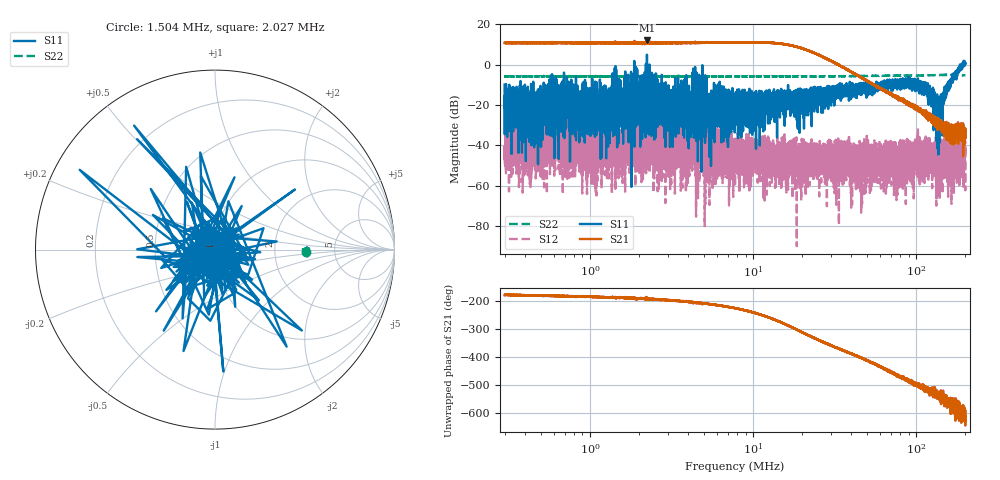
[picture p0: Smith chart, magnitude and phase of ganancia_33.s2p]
# Hz S DB R 50
! CMT, M5065, 19127446, 24.2.4/2
! Date: 11/1/2024 4:34:19 PM
! Data: Format (Calibration Info)
! Freq	S11:dB/Ang(F2)	S21:dB/Ang(F2)	S12:dB/Ang(F2)	S22:dB/Ang(F2)
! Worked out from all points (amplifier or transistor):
!   9000 points, 300 kHz to 200 MHz, reference 50 ohm
!   highest |S21| = 11.9 dB at 2.236 MHz (marker M1)
!   |S21| within 3 dB of that: start of sweep to 18.12 MHz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
!   unconditionally stable (mu >= 1): 2.318 MHz to 4.886 MHz; 4.888 MHz to 185.2 MHz; 185.4 MHz to 190.6 MHz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
!   at 886.8 kHz: K = 8.69, MAG = 12.1 dB, |S12| = -38.4 dB
!   at 7.749 MHz: K = 110.75, MAG = 12.3 dB, |S12| = -60.5 dB
!   at 200 MHz: K = -174.82, MSG = 5.5 dB, |S12| = -43.9 dB
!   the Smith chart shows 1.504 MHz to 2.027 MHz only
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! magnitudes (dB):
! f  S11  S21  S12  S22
! 300 kHz  -9.9  10.7  -40.5  -5.9
! 310.1 kHz  -22.0  10.7  -34.9  -5.9
! 647.6 kHz  -27.3  10.7  -49.2  -5.9
! 725.9 kHz  -20.4  10.8  -47.1  -5.8
! 886.8 kHz  -13.4  10.6  -38.4  -5.9
! 2.236 MHz  4.9  11.9  -36.9  -5.8
! 2.621 MHz  -17.4  10.8  -36.9  -5.9
! 4.059 MHz  -18.1  10.8  -34.1  -5.9
! 4.751 MHz  -18.0  10.8  -32.5  -5.8
! 5.415 MHz  -20.0  10.9  -46.9  -5.9
! 5.935 MHz  -16.8  11.0  -41.6  -5.8
! 7.749 MHz  -24.1  10.9  -60.5  -5.8
! 15.18 MHz  -18.1  10.1  -46.2  -5.9
! 19.09 MHz  -13.1  8.5  -43.0  -5.8
! 22.91 MHz  -12.8  6.3  -56.0  -5.8
! 67.71 MHz  -10.5  -13.9  -49.3  -5.5
! 110 MHz  -11.4  -23.2  -42.0  -5.4
! 123.1 MHz  -15.8  -25.8  -42.8  -5.3
! 133.9 MHz  -28.8  -28.4  -52.4  -5.2
! 137.3 MHz  -32.4  -30.0  -43.4  -5.2
! 157.7 MHz  -12.7  -31.5  -60.7  -5.2
! 200 MHz  0.3  -32.9  -43.9  -5.3
